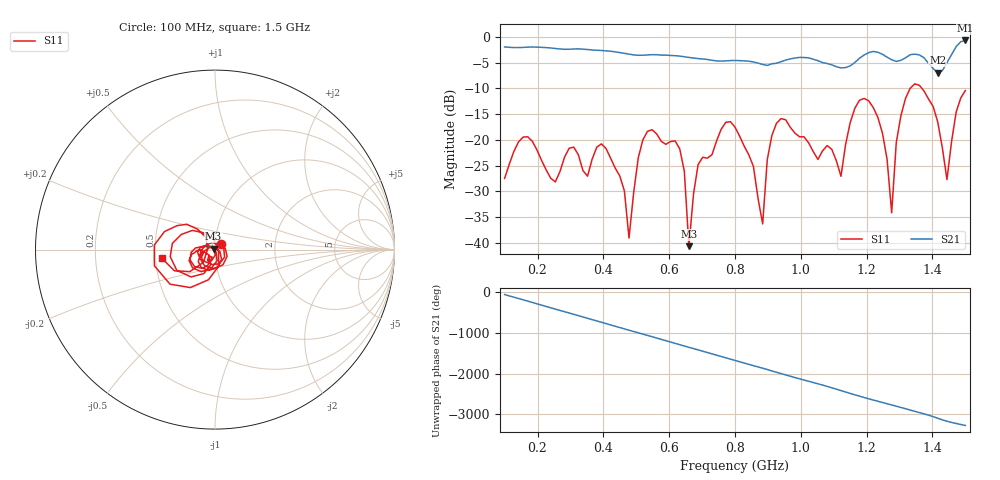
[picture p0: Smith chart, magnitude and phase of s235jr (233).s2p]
! NanoVNA-App
! Date: 2025-09-25 15:05:58
! Start: 100MHz Stop: 1,5GHz Points: 101
! S-Parameter data: F S11 S21 S12 S22
# Hz S RI R 50
!  Frequency  S11_Real  S11_Imag  S21_Real  S21_Imag  S12_Real  S12_Imag  S22_Real  S22_Imag
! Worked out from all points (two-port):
!   101 points, 100 MHz to 1.5 GHz, reference 50 ohm
!   highest |S21| = -0.71 dB at 1.5 GHz (marker M1); lowest = -7.0 dB at 1.416 GHz (marker M2)
!   |S21| within 3 dB of the highest: start of sweep to 625.9 MHz; 1.188 GHz to 1.256 GHz (67.71 MHz wide, 5.54 % of centre) (the widest 2 of 4)
!   lowest |S11| = -40.6 dB at 660 MHz (marker M3), VSWR 1.02, Z = 49.2 + j0.519 ohm
!   |S11| at or under -10 dB: start of sweep to 1.332 GHz; 1.368 GHz to end of sweep
!   S12 and S22 are empty: the file has one direction only
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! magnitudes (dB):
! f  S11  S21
! 100 MHz  -27.5  -2.0
! 156 MHz  -19.5  -2.1
! 338 MHz  -25.9  -2.4
! 408 MHz  -21.6  -2.7
! 478 MHz  -39.0  -3.4
! 520 MHz  -20.0  -3.6
! 576 MHz  -20.3  -3.5
! 632 MHz  -21.7  -3.7
! 660 MHz  -40.6  -4.0
! 688 MHz  -24.8  -4.2
! 800 MHz  -17.5  -4.6
! 884 MHz  -36.3  -5.4
! 926 MHz  -16.8  -5.1
! 1.038 GHz  -22.3  -4.4
! 1.122 GHz  -27.1  -6.0
! 1.206 GHz  -12.4  -3.1
! 1.276 GHz  -34.1  -4.5
! 1.29 GHz  -20.5  -4.8
! 1.332 GHz  -10.0  -3.5
! 1.416 GHz  -16.5  -7.0
! 1.444 GHz  -27.7  -5.0
! 1.5 GHz  -10.4  -0.7
